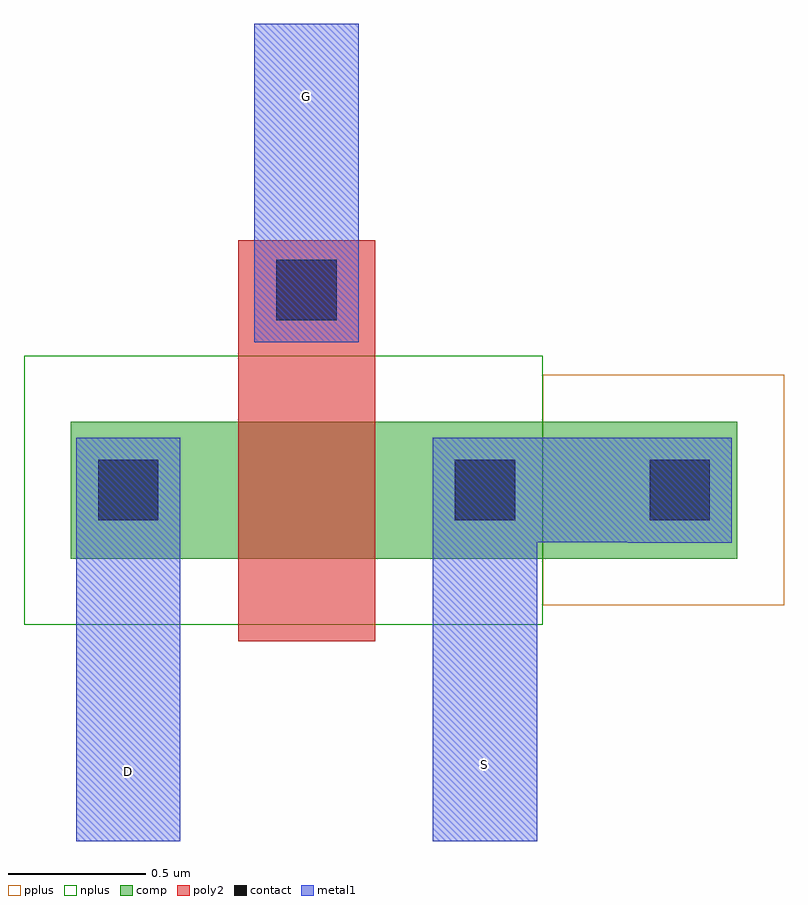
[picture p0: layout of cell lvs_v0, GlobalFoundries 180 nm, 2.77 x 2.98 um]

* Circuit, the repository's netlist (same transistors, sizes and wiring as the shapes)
** sch_path: /foss/designs/Chipathon-2026-OnChipSAR/designs/sar_adc/digital/digital_logic/lvs_v0.sch
.subckt lvs_v0 D G S
*.PININFO D:B S:B G:B
M1 D G S S nfet_03v3 L=0.5u W=0.5u nf=1
.ends

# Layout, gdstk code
import gdstk
lib = gdstk.Library(unit=1e-6, precision=1e-09)
def R(c, l, rs):  # rectangles x0, y0, x1, y1
    for r in rs: c.add(gdstk.rectangle(r[:2], r[2:], *l))
comp = (22, 0)
poly2 = (30, 0)
pplus = (31, 0)
nplus = (32, 0)
contact = (33, 0)
metal1 = (34, 0)

nfet = lib.new_cell('nfet')
R(nfet, comp, [(-0.42,0,0,0.5), (0,0,0.88,0.5), (0.88,0,1.3,0.5), (1.3,0,2.01,0.5)])
R(nfet, poly2, [(0.19,-0.3,0.69,0.8), (0.19,0.8,0.69,1.16)])
R(nfet, pplus, [(1.3,-0.17,2.18,0.67)])
R(nfet, nplus, [(-0.59,-0.24,1.3,0.74)])
R(nfet, contact, [(-0.32,0.14,-0.1,0.36), (0.98,0.14,1.2,0.36), (1.69,0.14,1.91,0.36), (0.33,0.87,0.55,1.09)])
R(nfet, metal1, [(-0.4,0.059,-0.02,0.441), (0.9,0.059,1.28,0.441), (1.61,0.059,1.99,0.441), (0.25,0.789,0.63,1.171)])

lvs_v0 = lib.new_cell('lvs_v0')
lvs_v0.add(gdstk.FlexPath([(1.88,-0.03),(1.88,1.44)], 0.38, ends="flush", simple_path=True, layer=34, datatype=0))  # metal1
lvs_v0.add(gdstk.FlexPath([(1.69,1.25),(2.78,1.25)], 0.38, ends="flush", simple_path=True, layer=34, datatype=0))  # metal1
lvs_v0.add(gdstk.FlexPath([(1.23,1.79),(1.23,1.79),(1.23,2.95)], 0.38, ends="flush", simple_path=True, layer=34, datatype=0))  # metal1
lvs_v0.add(gdstk.FlexPath([(0.58,-0.03),(0.58,1.44)], 0.38, ends="flush", simple_path=True, layer=34, datatype=0))  # metal1
lvs_v0.add(gdstk.Reference(nfet, (0.79,1)))
lvs_v0.add(gdstk.Label('G', (1.23,2.685), layer=34, texttype=10))
lvs_v0.add(gdstk.Label('D', (0.58,0.225), layer=34, texttype=10))
lvs_v0.add(gdstk.Label('S', (1.88,0.25), layer=34, texttype=10))

lib.write_gds('lvs_v0.gds')
